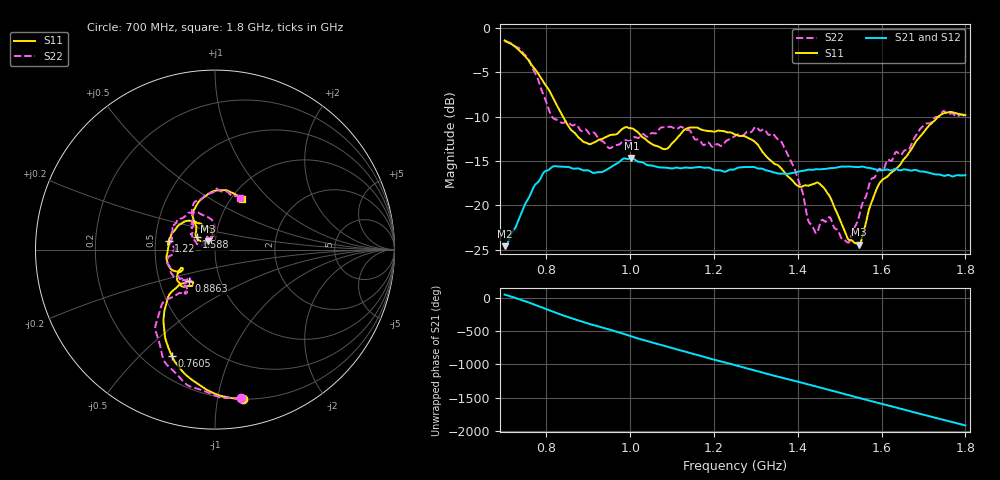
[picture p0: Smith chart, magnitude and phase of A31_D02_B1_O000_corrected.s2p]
! Created with skrf 1.9.0 (http://scikit-rf.org).
# Hz S RI R 50.0
!freq ReS11 ImS11 ReS21 ImS21 ReS12 ImS12 ReS22 ImS22
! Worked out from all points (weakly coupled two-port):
!   1601 points, 700 MHz to 1.8 GHz, reference 50 ohm
!   highest |S21| = -14.68 dB at 1.002 GHz (marker M1); lowest = -24.6 dB at 701.4 MHz (marker M2)
!   lowest |S11| = -24.5 dB at 1.546 GHz (marker M3), VSWR 1.13, Z = 46.1 + j4.28 ohm
!   |S11| at or under -10 dB: 839.2 MHz to 1.735 GHz (896.2 MHz wide, 69.6 % of centre)
!   |S22| runs from -24.2 to -1.5 dB; largest |S21 - S12| = 0.0035
!   S11 on the Smith chart (normalised r, x): 700 MHz: 0.20, -1.19; 760.5 MHz: 0.31, -0.63; 886.3 MHz: 0.70, -0.26; 1.22 GHz: 0.59, +0.06; 1.588 GHz: 0.81, +0.11; 1.8 GHz: 1.12, +0.71
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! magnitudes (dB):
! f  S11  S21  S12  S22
! 700 MHz  -1.4  -24.6  -24.4  -1.5
! 701.4 MHz  -1.4  -24.6  -24.2  -1.5
! 760.5 MHz  -3.9  -18.9  -18.8  -3.8
! 814.1 MHz  -7.7  -15.7  -15.7  -10.1
! 883.6 MHz  -12.7  -16.0  -15.9  -11.6
! 886.3 MHz  -12.8  -16.0  -15.9  -11.6
! 950.2 MHz  -12.1  -15.8  -15.8  -13.6
! 1.002 GHz  -11.3  -14.7  -14.8  -12.6
! 1.067 GHz  -13.4  -15.7  -15.6  -11.5
! 1.14 GHz  -11.3  -15.8  -15.7  -11.5
! 1.22 GHz  -11.6  -16.1  -16.2  -13.2
! 1.25 GHz  -12.0  -15.9  -15.8  -12.2
! 1.3 GHz  -13.0  -15.8  -15.8  -11.2
! 1.359 GHz  -15.8  -16.4  -16.4  -12.8
! 1.434 GHz  -17.7  -16.0  -16.0  -22.3
! 1.476 GHz  -19.0  -15.8  -15.8  -21.3
! 1.52 GHz  -23.8  -15.6  -15.6  -24.2
! 1.546 GHz  -24.5  -15.7  -15.7  -21.2
! 1.588 GHz  -18.1  -16.0  -16.0  -16.4
! 1.617 GHz  -16.6  -16.0  -16.0  -14.9
! 1.738 GHz  -9.9  -16.5  -16.6  -9.9
! 1.8 GHz  -9.8  -16.6  -16.6  -10.0
